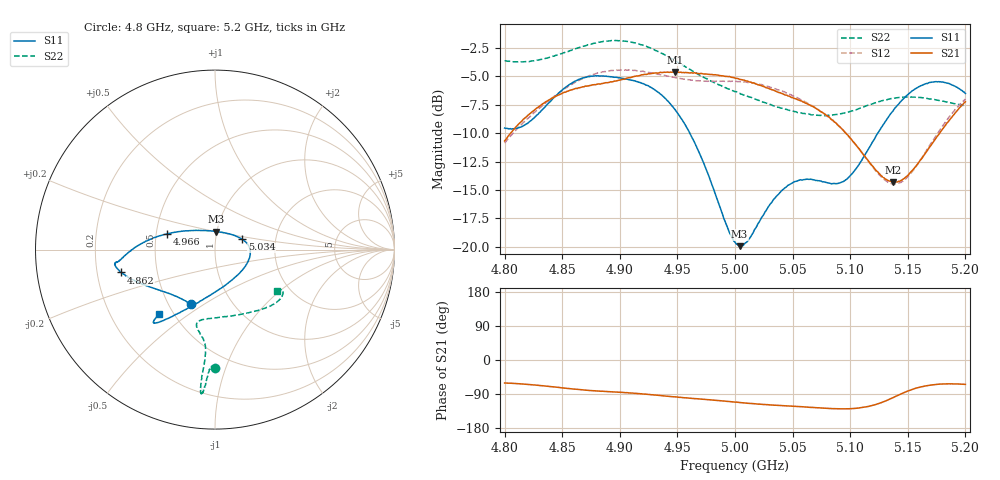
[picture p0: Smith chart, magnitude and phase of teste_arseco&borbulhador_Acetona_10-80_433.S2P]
! Network Analyzer HP8722D
! Hewlett-Packard
! Data name: Linha & Wilkinson
! Saver's name: Rodrigo Anjos
! Comments: Teste da utilização de aquisição
! continua pelo VNA HP8722D
! Time and date: 17/4/2025 17:58
!  Frequency  S11  S21  S12  S22
# HZ  S  MA R 50
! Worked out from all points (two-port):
!   401 points, 4.8 GHz to 5.2 GHz, reference 50 ohm
!   highest |S21| = -4.63 dB at 4.948 GHz (marker M1); lowest = -14.3 dB at 5.137 GHz (marker M2)
!   |S21| within 3 dB of the highest: 4.83 GHz to 5.067 GHz (236.3 MHz wide, 4.78 % of centre); 5.196304 GHz to end of sweep
!   lowest |S11| = -19.9 dB at 5.004 GHz (marker M3), VSWR 1.22, Z = 49.8 + j10.1 ohm
!   |S11| at or under -10 dB: 4.961 GHz to 5.124 GHz (163.3 MHz wide, 3.24 % of centre)
!   |S22| runs from -8.5 to -1.9 dB; largest |S21 - S12| = 0.88
!   S11 on the Smith chart (normalised r, x): 4.8 GHz: 0.65, -0.44; 4.862 GHz: 0.31, -0.11; 4.966 GHz: 0.57, +0.11; 5.034 GHz: 1.35, +0.16; 5.2 GHz: 0.42, -0.39
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4.8e9  0.3328 -113.5  0.2919 -60.7  0.2857 -175.1  0.6575 -90.1
4.819e9  0.3472 -133.6  0.373 -64.1  0.3626 -173.6  0.6523 -91.7
4.862e9  0.537 -166.3  0.4974 -77.1  0.5309 -177.0  0.7443 -93.9
4.867e9  0.5498 -168.2  0.504 -78.8  0.5459 -177.9  0.7588 -94.1
4.898e9  0.5545 -172.7  0.538 -85.0  0.5966 175.8  0.8063 -95.3
4.934e9  0.4758 -178.8  0.5815 -93.5  0.5731 171.8  0.7186 -95.9
4.948e9  0.401 174.3  0.5867 -97.6  0.5548 172.1  0.6576 -95.5
4.966e9  0.2796 161.6  0.5798 -102.0  0.5374 173.7  0.582 -95.2
5e9  0.1048 99.1  0.5518 -111.2  0.5336 176.2  0.4806 -99.3
5.004e9  0.1007 85.3  0.5448 -112.1  0.5324 176.0  0.4734 -100.1
5.012e9  0.1079 60.1  0.5317 -114.3  0.5272 176.0  0.4563 -102.0
5.034e9  0.1625 20.9  0.4867 -119.3  0.4966 174.7  0.4155 -103.6
5.05e9  0.1914 4.6  0.4527 -121.7  0.4609 174.0  0.3956 -99.8
5.067e9  0.1977 -13.8  0.4148 -125.1  0.4175 173.6  0.3799 -90.7
5.086e9  0.1899 -43.9  0.3552 -128.4  0.3542 173.6  0.3804 -76.3
5.097e9  0.1982 -66.6  0.3126 -128.7  0.3126 174.7  0.3896 -67.2
5.134e9  0.3774 -116.9  0.1946 -103.7  0.1907 -156.7  0.4469 -43.0
5.137e9  0.3949 -118.7  0.1919 -99.6  0.1893 -151.8  0.4497 -41.7
5.15e9  0.4665 -124.5  0.2058 -82.1  0.2035 -131.8  0.4554 -36.7
5.17e9  0.5286 -129.3  0.2788 -66.1  0.2842 -112.2  0.4466 -32.0
5.184e9  0.5249 -130.6  0.3504 -63.1  0.3617 -107.3  0.4333 -31.1
5.2e9  0.4724 -131.0  0.4342 -64.3  0.4463 -106.5  0.4164 -33.4
